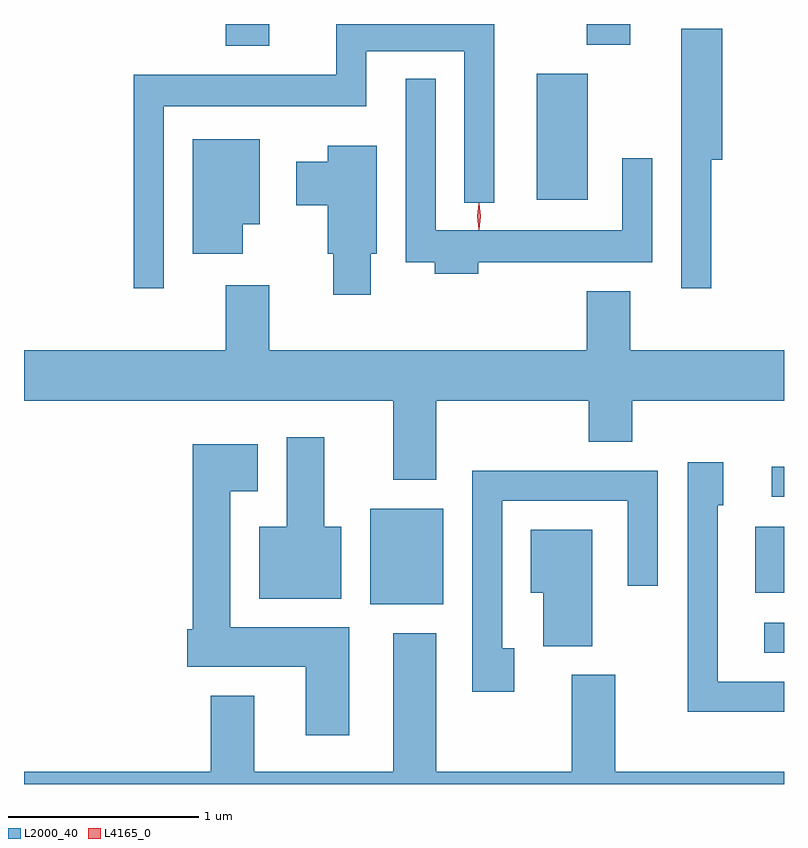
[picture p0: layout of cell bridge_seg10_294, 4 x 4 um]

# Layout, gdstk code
import gdstk
lib = gdstk.Library(unit=1e-6, precision=1e-09)
def R(c, l, rs):  # rectangles x0, y0, x1, y1
    for r in rs: c.add(gdstk.rectangle(r[:2], r[2:], *l))
def P(c, l, *ps):  # polygons
    for p in ps: c.add(gdstk.Polygon(p, *l))
L2000_40 = (2000, 40)
L4165_0 = (4165, 0)

bridge_seg10_294 = lib.new_cell('bridge_seg10_294')
R(bridge_seg10_294, L2000_40, [(1411.183,2185.851,1411.288,2186.009), (1409.111,2186.106,1409.494,2186.609), (1411.136,2186.166,1411.288,2186.514), (1411.223,2186.671,1411.288,2186.829), (1409.986,2188.236,1410.254,2188.899), (1408.351,2189.046,1408.579,2189.16), (1410.251,2189.051,1410.479,2189.16)])
P(bridge_seg10_294, L2000_40, [(1408.024,2188.726),(1409.089,2188.726),(1409.089,2189.016),(1409.606,2189.016),(1409.606,2188.218),(1409.764,2188.218),(1409.764,2189.16),(1408.931,2189.16),(1408.931,2188.894),(1407.866,2188.894),(1407.866,2187.768),(1408.024,2187.768)],
  [(1410.904,2188.446),(1410.964,2188.446),(1410.964,2189.134),(1410.746,2189.134),(1410.746,2187.768),(1410.904,2187.768)],
  [(1409.679,2187.906),(1410.594,2187.906),(1410.594,2188.453),(1410.436,2188.453),(1410.436,2188.074),(1409.454,2188.074),(1409.454,2188.873),(1409.296,2188.873),(1409.296,2187.906),(1409.451,2187.906),(1409.451,2187.846),(1409.679,2187.846)],
  [(1408.439,2188.106),(1408.529,2188.106),(1408.529,2188.554),(1408.176,2188.554),(1408.176,2187.951),(1408.439,2187.951)],
  [(1409.114,2187.951),(1409.144,2187.951),(1409.144,2188.519),(1408.886,2188.519),(1408.886,2188.434),(1408.721,2188.434),(1408.721,2188.206),(1408.886,2188.206),(1408.886,2187.951),(1408.916,2187.951),(1408.916,2187.736),(1409.114,2187.736)],
  [(1409.459,2187.176),(1410.261,2187.176),(1410.261,2186.961),(1410.489,2186.961),(1410.489,2187.176),(1411.288,2187.176),(1411.288,2187.444),(1410.479,2187.444),(1410.479,2187.754),(1410.251,2187.754),(1410.251,2187.444),(1408.579,2187.444),(1408.579,2187.784),(1408.351,2187.784),(1408.351,2187.444),(1407.288,2187.444),(1407.288,2187.176),(1409.231,2187.176),(1409.231,2186.761),(1409.459,2186.761)],
  [(1408.959,2186.514),(1408.869,2186.514),(1408.869,2186.984),(1408.671,2186.984),(1408.671,2186.514),(1408.526,2186.514),(1408.526,2186.136),(1408.959,2186.136)],
  [(1408.999,2185.984),(1408.374,2185.984),(1408.374,2186.701),(1408.519,2186.701),(1408.519,2186.949),(1408.176,2186.949),(1408.176,2185.974),(1408.146,2185.974),(1408.146,2185.776),(1408.771,2185.776),(1408.771,2185.416),(1408.999,2185.416)],
  [(1411.288,2185.699),(1410.939,2185.699),(1410.939,2186.626),(1410.969,2186.626),(1410.969,2186.854),(1410.781,2186.854),(1410.781,2185.541),(1411.288,2185.541)],
  [(1409.869,2185.874),(1409.804,2185.874),(1409.804,2186.651),(1410.466,2186.651),(1410.466,2186.203),(1410.624,2186.203),(1410.624,2186.809),(1409.646,2186.809),(1409.646,2185.646),(1409.869,2185.646)],
  [(1410.279,2186.499),(1409.956,2186.499),(1409.956,2186.166),(1410.021,2186.166),(1410.021,2185.886),(1410.279,2185.886)],
  [(1411.288,2185.224),(1410.399,2185.224),(1410.399,2185.734),(1410.171,2185.734),(1410.171,2185.224),(1409.459,2185.224),(1409.459,2185.954),(1409.231,2185.954),(1409.231,2185.224),(1408.499,2185.224),(1408.499,2185.624),(1408.271,2185.624),(1408.271,2185.224),(1407.288,2185.224),(1407.288,2185.16),(1411.288,2185.16)])
P(bridge_seg10_294, L4165_0, [(1409.682,2188.077),(1409.673,2188.147),(1409.682,2188.216),(1409.683,2188.216),(1409.684,2188.216),(1409.693,2188.147),(1409.684,2188.077),(1409.683,2188.077)])

lib.write_gds('bridge_seg10_294.gds')
